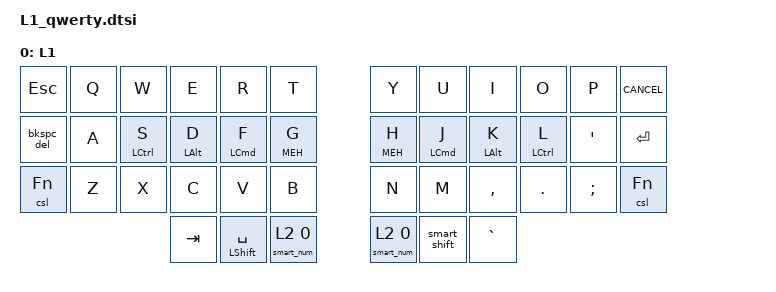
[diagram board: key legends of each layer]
/**
 * Alpha Layer - QWERTY
 */

/ {
  keymap {
    compatible = "zmk,keymap";

    qwerty_layer {
      display-name = "L1";
      bindings = <
// ╭───────────────┬───────────────┬───────────────┬───────────────┬───────────────┬───────────────╮   ╭───────────────┬───────────────┬───────────────┬───────────────┬───────────────┬───────────────╮
// │0              │1              │2              │3              │4              │5              │   │6              │7              │8              │9              │10             │11             │
    &kp ESC         &kp Q           &kp W           &kp E           &kp R           &kp T               &kp Y           &kp U           &kp I           &kp O           &kp P           &kp K_CANCEL
// ├───────────────├───────────────┼───────────────┼───────────────┼───────────────┼───────────────┤   ├───────────────├───────────────┼───────────────┼───────────────┼───────────────┼───────────────┤
// │12             │13             │14             │15             │16             │17             │   │18             │19             │20             │21             │22             │23             │
    &bkspc_del      &kp A           &hrml LCTRL S   &hrml LALT D    &hrml LCMD F    &hrml MEH G         &hrmr MEH H     &hrmr LCMD J    &hrmr LALT K    &hrmr LCTRL L   &kp SQT         &kp ENTER
// ├───────────────├───────────────┼───────────────┼───────────────┼───────────────┼───────────────┤   ├───────────────├───────────────┼───────────────┼───────────────┼───────────────┼───────────────┤
// │24             │25             │26             │27             │28             │29             │   │30             │31             │32             │33             │34             │35             │
    &csl Fn         &kp Z           &kp X           &kp C           &kp V           &kp B               &kp N           &kp M           &kp COMMA       &kp DOT         &kp SEMICOLON   &csl Fn
// ╰───────────────┴───────────────┴───────────────┼───────────────┼───────────────┼───────────────┤   ├───────────────├───────────────┼───────────────┼───────────────┴───────────────┴───────────────╯
//                                                 │36             │37             │38             │   │39             │40             │41             │
                                                    &kp TAB         &mt LSHFT SPACE &smart_num L2 0     &smart_num L2 0 &smart_shift    &kp GRAVE
//                                                 ╰───────────────┴───────────────┴───────────────╯   ╰───────────────┴───────────────┴───────────────╯
      >;
    };
  };
};
